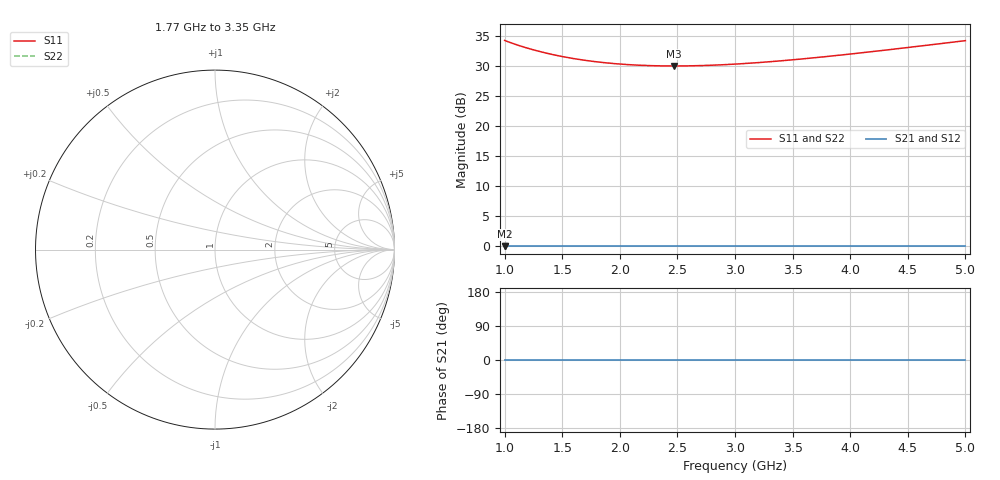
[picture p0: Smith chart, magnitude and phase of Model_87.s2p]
# GHZ S RI R 50
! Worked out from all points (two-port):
!   401 points, 1 GHz to 5 GHz, reference 50 ohm
!   highest |S21| = 0.00 dB at 1 GHz (marker M1); lowest = 0.0 dB at 1 GHz (marker M2)
!   |S21| within 3 dB of the highest: start of sweep to end of sweep
!   lowest |S11| = 30.1 dB at 2.47 GHz (marker M3)
!   |S11| at or under -10 dB: nowhere
!   |S22| runs from 30.1 to 34.3 dB; largest |S21 - S12| = 0
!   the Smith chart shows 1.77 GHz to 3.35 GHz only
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1  51.98 0  1 0  1 0  51.98 0
1.02  51.12 0  1 0  1 0  51.12 0
1.15  46.32 0  1 0  1 0  46.32 0
1.22  44.22 0  1 0  1 0  44.22 0
1.3  42.15 0  1 0  1 0  42.15 0
1.38  40.38 0  1 0  1 0  40.38 0
1.47  38.68 0  1 0  1 0  38.68 0
1.57  37.11 0  1 0  1 0  37.11 0
1.67  35.81 0  1 0  1 0  35.81 0
1.82  34.3 0  1 0  1 0  34.3 0
1.98  33.16 0  1 0  1 0  33.16 0
2.15  32.37 0  1 0  1 0  32.37 0
2.34  31.92 0  1 0  1 0  31.92 0
2.47  31.84 0  1 0  1 0  31.84 0
2.73  32.13 0  1 0  1 0  32.13 0
3  33 0  1 0  1 0  33 0
3.33  34.71 0  1 0  1 0  34.71 0
3.67  37.13 0  1 0  1 0  37.13 0
4  40.04 0  1 0  1 0  40.04 0
4.34  43.56 0  1 0  1 0  43.56 0
4.64  47.08 0  1 0  1 0  47.08 0
5  51.79 0  1 0  1 0  51.79 0
